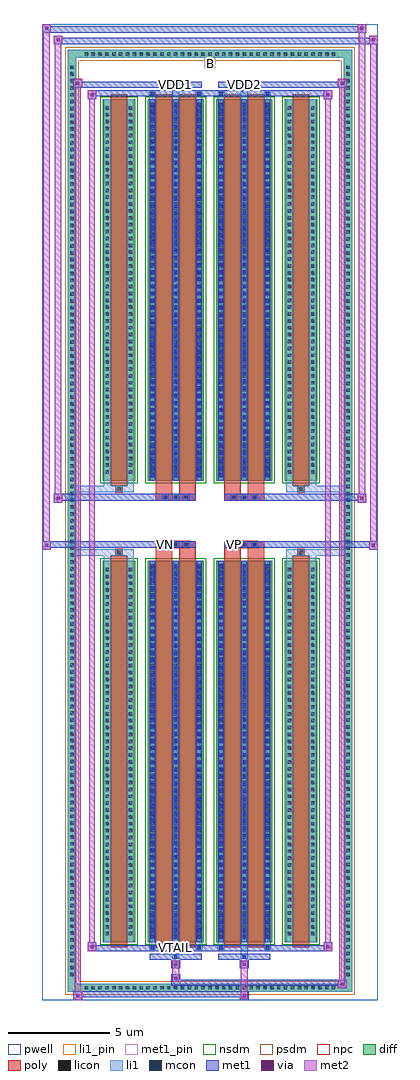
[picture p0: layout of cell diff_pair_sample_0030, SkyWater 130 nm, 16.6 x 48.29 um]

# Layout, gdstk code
import gdstk
lib = gdstk.Library(unit=1e-6, precision=5e-09)
def R(c, l, rs):  # rectangles x0, y0, x1, y1
    for r in rs: c.add(gdstk.rectangle(r[:2], r[2:], *l))
def A(c, l, x, y, w, h, nx, ny, dx, dy):  # array of equal rectangles
    R(c, l, [(x+i*dx, y+j*dy, x+i*dx+w, y+j*dy+h) for i in range(nx) for j in range(ny)])
def P(c, l, *ps):  # polygons
    for p in ps: c.add(gdstk.Polygon(p, *l))
pwell = (64, 44)
diff = (65, 20)
poly = (66, 20)
licon = (66, 44)
li1_pin = (67, 16)
li1 = (67, 20)
mcon = (67, 44)
met1_pin = (68, 16)
met1 = (68, 20)
via = (68, 44)
met2 = (69, 20)
nsdm = (93, 44)
psdm = (94, 20)
npc = (95, 20)

diff_pair_sample_0030 = lib.new_cell('diff_pair_sample_0030')
R(diff_pair_sample_0030, pwell, [(-8.3,-23.71,8.3,24.58), (-5.62,-21.9,-0.01,-0.8), (0.01,-21.9,5.62,-0.8), (-5.62,0.8,-0.01,21.9), (0.01,0.8,5.62,21.9)])
A(diff_pair_sample_0030, diff, -6.325, -23.31, 0.41, 0.41, 37, 2, 0.34, 46.21)
A(diff_pair_sample_0030, diff, -7.03, -22.645, 0.41, 0.41, 1, 133, 0, 0.34)
A(diff_pair_sample_0030, diff, 6.62, -22.645, 0.41, 0.41, 1, 133, 0, 0.34)
R(diff_pair_sample_0030, diff, [(-6.325,-23.31,6.325,-22.9), (-7.03,-22.645,-6.62,22.645), (6.62,-22.645,7.03,22.645), (-5.31,-20.855,-3.71,-1.985), (-3.07,-20.855,-0.32,-1.985), (0.32,-20.855,3.07,-1.985), (3.71,-20.855,5.31,-1.985), (-5.31,1.985,-3.71,20.855), (-3.07,1.985,-0.32,20.855), (0.32,1.985,3.07,20.855), (3.71,1.985,5.31,20.855), (-6.325,22.9,6.325,23.31)])
P(diff_pair_sample_0030, diff, [(7.03,23.31),(-7.03,23.31),(-7.03,-22.9),(-6.62,-22.9),(-6.62,22.9),(6.62,22.9),(6.62,-22.9),(-6.62,-22.9),(-7.03,-22.9),(-7.03,-23.31),(7.03,-23.31)])
A(diff_pair_sample_0030, poly, -2.36, -1.33, 0.33, 0.33, 3, 2, 0.5, 2.33)
A(diff_pair_sample_0030, poly, 1.03, -1.33, 0.33, 0.33, 3, 2, 0.5, 2.33)
R(diff_pair_sample_0030, poly, [(-4.92,-21.105,-4.1,-1.735), (-2.68,-21.105,-1.86,-1.735), (-1.53,-21.105,-0.71,-1.735), (0.71,-21.105,1.53,-1.735), (1.86,-21.105,2.68,-1.735), (4.1,-21.105,4.92,-1.735), (-4.675,-1.735,-4.345,-1.405), (-4.675,-1.735,-4.345,-1.405), (-2.68,-1.735,-1.86,-1.33), (-1.53,-1.735,-0.71,-1.33), (0.71,-1.735,1.53,-1.33), (1.86,-1.735,2.68,-1.33), (4.345,-1.735,4.675,-1.405), (4.345,-1.735,4.675,-1.405), (-2.68,-1.33,-0.71,-1), (0.71,-1.33,2.68,-1), (-2.68,1,-0.71,1.33), (0.71,1,2.68,1.33), (-2.68,1.33,-1.86,1.735), (-1.53,1.33,-0.71,1.735), (0.71,1.33,1.53,1.735), (1.86,1.33,2.68,1.735), (-4.675,1.405,-4.345,1.735), (-4.675,1.405,-4.345,1.735), (4.345,1.405,4.675,1.735), (4.345,1.405,4.675,1.735), (-4.92,1.735,-4.1,21.105), (-2.68,1.735,-1.86,21.105), (-1.53,1.735,-0.71,21.105), (0.71,1.735,1.53,21.105), (1.86,1.735,2.68,21.105), (4.1,1.735,4.92,21.105)])
A(diff_pair_sample_0030, licon, -6.205, -23.19, 0.17, 0.17, 37, 2, 0.34, 46.21)
A(diff_pair_sample_0030, licon, -6.91, -22.525, 0.17, 0.17, 1, 133, 0, 0.34)
A(diff_pair_sample_0030, licon, 6.74, -22.525, 0.17, 0.17, 1, 133, 0, 0.34)
A(diff_pair_sample_0030, licon, -5.17, -20.515, 0.17, 0.17, 1, 54, 0, 0.34)
A(diff_pair_sample_0030, licon, -4.02, -20.515, 0.17, 0.17, 1, 54, 0, 0.34)
A(diff_pair_sample_0030, licon, -2.93, -20.515, 0.17, 0.17, 3, 54, 1.15, 0.34)
A(diff_pair_sample_0030, licon, 0.46, -20.515, 0.17, 0.17, 3, 54, 1.15, 0.34)
A(diff_pair_sample_0030, licon, 3.85, -20.515, 0.17, 0.17, 1, 54, 0, 0.34)
A(diff_pair_sample_0030, licon, 5, -20.515, 0.17, 0.17, 1, 54, 0, 0.34)
A(diff_pair_sample_0030, licon, -2.28, -1.25, 0.17, 0.17, 3, 2, 0.5, 2.33)
A(diff_pair_sample_0030, licon, 1.11, -1.25, 0.17, 0.17, 3, 2, 0.5, 2.33)
A(diff_pair_sample_0030, licon, -5.17, 2.325, 0.17, 0.17, 1, 54, 0, 0.34)
A(diff_pair_sample_0030, licon, -4.02, 2.325, 0.17, 0.17, 1, 54, 0, 0.34)
A(diff_pair_sample_0030, licon, -2.93, 2.325, 0.17, 0.17, 3, 54, 1.15, 0.34)
A(diff_pair_sample_0030, licon, 0.46, 2.325, 0.17, 0.17, 3, 54, 1.15, 0.34)
A(diff_pair_sample_0030, licon, 3.85, 2.325, 0.17, 0.17, 1, 54, 0, 0.34)
A(diff_pair_sample_0030, licon, 5, 2.325, 0.17, 0.17, 1, 54, 0, 0.34)
R(diff_pair_sample_0030, licon, [(-4.595,-1.655,-4.425,-1.485), (4.425,-1.655,4.595,-1.485), (-4.595,1.485,-4.425,1.655), (4.425,1.485,4.595,1.655)])
R(diff_pair_sample_0030, li1_pin, [(-0.25,22.4,0.25,22.9)])
A(diff_pair_sample_0030, li1, -6.285, -23.27, 0.33, 0.33, 37, 2, 0.34, 46.21)
A(diff_pair_sample_0030, li1, -6.99, -22.605, 0.33, 0.33, 1, 133, 0, 0.34)
A(diff_pair_sample_0030, li1, 6.66, -22.605, 0.33, 0.33, 1, 133, 0, 0.34)
A(diff_pair_sample_0030, li1, -3.01, -20.855, 0.33, 18.87, 3, 2, 1.15, 22.84)
A(diff_pair_sample_0030, li1, 0.38, -20.855, 0.33, 18.87, 3, 2, 1.15, 22.84)
A(diff_pair_sample_0030, li1, -2.93, -20.685, 0.17, 0.17, 3, 52, 1.15, 0.36)
A(diff_pair_sample_0030, li1, -2.93, -20.685, 0.17, 18.53, 3, 2, 1.15, 22.84)
A(diff_pair_sample_0030, li1, 0.46, -20.685, 0.17, 0.17, 3, 52, 1.15, 0.36)
A(diff_pair_sample_0030, li1, 0.46, -20.685, 0.17, 18.53, 3, 2, 1.15, 22.84)
A(diff_pair_sample_0030, li1, -5.25, -20.595, 0.33, 0.33, 1, 54, 0, 0.34)
A(diff_pair_sample_0030, li1, -4.1, -20.595, 0.33, 0.33, 1, 54, 0, 0.34)
A(diff_pair_sample_0030, li1, -3.01, -20.595, 0.33, 0.33, 3, 54, 1.15, 0.34)
A(diff_pair_sample_0030, li1, 0.38, -20.595, 0.33, 0.33, 3, 54, 1.15, 0.34)
A(diff_pair_sample_0030, li1, 3.77, -20.595, 0.33, 0.33, 1, 54, 0, 0.34)
A(diff_pair_sample_0030, li1, 4.92, -20.595, 0.33, 0.33, 1, 54, 0, 0.34)
A(diff_pair_sample_0030, li1, -2.36, -1.33, 0.33, 0.33, 3, 2, 0.5, 2.33)
A(diff_pair_sample_0030, li1, 1.03, -1.33, 0.33, 0.33, 3, 2, 0.5, 2.33)
A(diff_pair_sample_0030, li1, -2.93, 2.155, 0.17, 0.17, 3, 52, 1.15, 0.36)
A(diff_pair_sample_0030, li1, 0.46, 2.155, 0.17, 0.17, 3, 52, 1.15, 0.36)
A(diff_pair_sample_0030, li1, -5.25, 2.245, 0.33, 0.33, 1, 54, 0, 0.34)
A(diff_pair_sample_0030, li1, -4.1, 2.245, 0.33, 0.33, 1, 54, 0, 0.34)
A(diff_pair_sample_0030, li1, -3.01, 2.245, 0.33, 0.33, 3, 54, 1.15, 0.34)
A(diff_pair_sample_0030, li1, 0.38, 2.245, 0.33, 0.33, 3, 54, 1.15, 0.34)
A(diff_pair_sample_0030, li1, 3.77, 2.245, 0.33, 0.33, 1, 54, 0, 0.34)
A(diff_pair_sample_0030, li1, 4.92, 2.245, 0.33, 0.33, 1, 54, 0, 0.34)
R(diff_pair_sample_0030, li1, [(-7.03,-23.31,-6.62,-22.9), (-7.03,-23.31,-6.62,-22.9), (-6.62,-23.31,6.62,-22.9), (6.62,-23.31,7.03,-22.9), (6.62,-23.31,7.03,-22.9), (-7.03,-22.9,-6.62,22.9), (6.62,-22.9,7.03,22.9), (-1.86,-21.66,-1.53,-20.855), (-1.78,-21.66,-1.61,-21.49), (1.53,-21.66,1.86,-20.855), (1.61,-21.66,1.78,-21.49), (-3.01,-21.23,-2.68,-20.855), (-2.93,-21.23,-2.76,-21.06), (-0.71,-21.23,-0.38,-20.855), (-0.63,-21.23,-0.46,-21.06), (0.38,-21.23,0.71,-20.855), (0.46,-21.23,0.63,-21.06), (2.68,-21.23,3.01,-20.855), (2.76,-21.23,2.93,-21.06), (-5.25,-20.855,-4.92,-1.985), (-4.1,-20.855,-3.77,-1.985), (3.77,-20.855,4.1,-1.985), (4.92,-20.855,5.25,-1.985), (-5.25,-1.985,-4.92,-1.405), (-4.1,-1.985,-3.77,-1.405), (3.77,-1.985,4.1,-1.405), (4.92,-1.985,5.25,-1.405), (-7.03,-1.735,-4.675,-1.405), (-5.25,-1.735,-4.675,-1.405), (-4.675,-1.735,-4.345,-1.405), (-4.345,-1.735,-3.77,-1.405), (3.77,-1.735,4.345,-1.405), (4.345,-1.735,4.675,-1.405), (4.345,-1.735,7.03,-1.405), (4.675,-1.735,5.25,-1.405), (-7.03,1.405,-4.675,1.735), (-5.25,1.405,-4.675,1.735), (-5.25,1.405,-4.92,1.985), (-4.675,1.405,-4.345,1.735), (-4.345,1.405,-3.77,1.735), (-4.1,1.405,-3.77,1.985), (3.77,1.405,4.345,1.735), (3.77,1.405,4.1,1.985), (4.345,1.405,4.675,1.735), (4.345,1.405,7.03,1.735), (4.675,1.405,5.25,1.735), (4.92,1.405,5.25,1.985), (-5.25,1.985,-4.92,20.855), (-4.1,1.985,-3.77,20.855), (3.77,1.985,4.1,20.855), (4.92,1.985,5.25,20.855), (-3.01,20.855,-2.68,21.23), (-1.86,20.855,-1.53,21.66), (-0.71,20.855,-0.38,21.23), (0.38,20.855,0.71,21.23), (1.53,20.855,1.86,21.66), (2.68,20.855,3.01,21.23), (-2.93,21.06,-2.76,21.23), (-0.63,21.06,-0.46,21.23), (0.46,21.06,0.63,21.23), (2.76,21.06,2.93,21.23), (-1.78,21.49,-1.61,21.66), (1.61,21.49,1.78,21.66), (-7.03,22.9,-6.62,23.31), (-7.03,22.9,-6.62,23.31), (-6.62,22.9,6.62,23.31), (6.62,22.9,7.03,23.31), (6.62,22.9,7.03,23.31)])
A(diff_pair_sample_0030, mcon, -2.93, -20.685, 0.17, 0.17, 3, 52, 1.15, 0.36)
A(diff_pair_sample_0030, mcon, 0.46, -20.685, 0.17, 0.17, 3, 52, 1.15, 0.36)
A(diff_pair_sample_0030, mcon, -2.28, -1.25, 0.17, 0.17, 3, 2, 0.5, 2.33)
A(diff_pair_sample_0030, mcon, 1.11, -1.25, 0.17, 0.17, 3, 2, 0.5, 2.33)
A(diff_pair_sample_0030, mcon, -2.93, 2.155, 0.17, 0.17, 3, 52, 1.15, 0.36)
A(diff_pair_sample_0030, mcon, 0.46, 2.155, 0.17, 0.17, 3, 52, 1.15, 0.36)
R(diff_pair_sample_0030, mcon, [(-1.78,-21.66,-1.61,-21.49), (1.61,-21.66,1.78,-21.49), (-2.93,-21.23,-2.76,-21.06), (-0.63,-21.23,-0.46,-21.06), (0.46,-21.23,0.63,-21.06), (2.76,-21.23,2.93,-21.06), (-2.93,21.06,-2.76,21.23), (-0.63,21.06,-0.46,21.23), (0.46,21.06,0.63,21.23), (2.76,21.06,2.93,21.23), (-1.78,21.49,-1.61,21.66), (1.61,21.49,1.78,21.66)])
R(diff_pair_sample_0030, met1_pin, [(-1.83,-21.27,-1.56,-21), (-2.33,-1.29,-2.06,-1.02), (1.06,-1.29,1.33,-1.02), (-1.83,21.45,-1.56,21.72), (1.56,21.45,1.83,21.72)])
A(diff_pair_sample_0030, met1, -2.99, -20.855, 0.29, 18.87, 3, 2, 1.15, 22.84)
A(diff_pair_sample_0030, met1, 0.4, -20.855, 0.29, 18.87, 3, 2, 1.15, 22.84)
A(diff_pair_sample_0030, met1, -2.99, -20.745, 0.29, 0.29, 3, 52, 1.15, 0.36)
A(diff_pair_sample_0030, met1, 0.4, -20.745, 0.29, 0.29, 3, 52, 1.15, 0.36)
A(diff_pair_sample_0030, met1, -2.34, -1.31, 0.29, 0.29, 3, 2, 0.5, 2.33)
A(diff_pair_sample_0030, met1, 1.05, -1.31, 0.29, 0.29, 3, 2, 0.5, 2.33)
A(diff_pair_sample_0030, met1, -2.99, 2.095, 0.29, 0.29, 3, 52, 1.15, 0.36)
A(diff_pair_sample_0030, met1, 0.4, 2.095, 0.29, 0.29, 3, 52, 1.15, 0.36)
R(diff_pair_sample_0030, met1, [(-6.76,-23.71,-6.33,-23.28), (1.48,-23.71,1.91,-23.28), (-6.76,-23.57,1.91,-23.28), (6.33,-23.14,6.76,-22.71), (-1.91,-23,6.76,-22.71), (-1.91,-22.86,-1.48,-22.43), (-1.91,-22.15,-1.48,-21.72), (1.48,-22.15,1.91,-21.72), (-2.99,-21.72,-0.4,-21.43), (-1.84,-21.72,-1.55,-21.43), (0.4,-21.72,2.99,-21.43), (1.55,-21.72,1.84,-21.43), (-6.05,-21.29,-5.62,-20.86), (-6.05,-21.29,-2.99,-21), (-2.99,-21.29,-2.7,-21), (-2.99,-21.29,-0.4,-21), (-0.69,-21.29,-0.4,-21), (-0.4,-21.29,0.4,-21), (0.4,-21.29,0.69,-21), (0.4,-21.29,2.99,-21), (2.7,-21.29,2.99,-21), (2.99,-21.29,6.05,-21), (5.62,-21.29,6.05,-20.86), (-8.3,-1.43,-7.87,-1), (7.87,-1.43,8.3,-1), (-8.3,-1.33,-0.71,-1), (-2.68,-1.33,-0.71,-1), (0.71,-1.33,2.68,-1), (0.71,-1.33,8.3,-1), (-7.73,0.9,-7.3,1.33), (7.3,0.9,7.73,1.33), (-7.73,1,-2.68,1.33), (-2.68,1,-0.71,1.33), (0.71,1,2.68,1.33), (2.68,1,7.73,1.33), (-6.05,20.86,-5.62,21.29), (5.62,20.86,6.05,21.29), (-6.05,21,-2.99,21.29), (-2.99,21,-2.7,21.29), (-2.99,21,-0.4,21.29), (-0.69,21,-0.4,21.29), (-0.4,21,0.4,21.29), (0.4,21,0.69,21.29), (0.4,21,2.99,21.29), (2.7,21,2.99,21.29), (2.99,21,6.05,21.29), (-6.76,21.43,-6.33,21.86), (-6.76,21.43,-2.99,21.72), (-2.99,21.43,-0.4,21.72), (-1.84,21.43,-1.55,21.72), (0.4,21.43,2.99,21.72), (1.55,21.43,1.84,21.72), (2.99,21.43,6.76,21.72), (6.33,21.43,6.76,21.86), (-7.73,23.58,-7.3,24.01), (-7.73,23.58,-5.62,23.91), (-5.62,23.58,5.62,23.91), (5.62,23.58,8.3,23.91), (7.87,23.58,8.3,24.01), (-8.3,24.15,-7.87,24.58), (-8.3,24.15,-5.62,24.48), (-5.62,24.15,5.62,24.48), (5.62,24.15,7.73,24.48), (7.3,24.15,7.73,24.58)])
R(diff_pair_sample_0030, via, [(-6.62,-23.57,-6.47,-23.42), (1.62,-23.57,1.77,-23.42), (6.47,-23,6.62,-22.85), (-1.77,-22.72,-1.62,-22.57), (-1.77,-22.01,-1.62,-21.86), (1.62,-22.01,1.77,-21.86), (-5.91,-21.15,-5.76,-21), (5.76,-21.15,5.91,-21), (-8.16,-1.29,-8.01,-1.14), (8.01,-1.29,8.16,-1.14), (-7.59,1.04,-7.44,1.19), (7.44,1.04,7.59,1.19), (-5.91,21,-5.76,21.15), (5.76,21,5.91,21.15), (-6.62,21.57,-6.47,21.72), (6.47,21.57,6.62,21.72), (-7.59,23.72,-7.44,23.87), (8.01,23.72,8.16,23.87), (-8.16,24.29,-8.01,24.44), (7.44,24.29,7.59,24.44)])
R(diff_pair_sample_0030, met2, [(-6.76,-23.71,-6.33,-23.28), (-6.69,-23.71,-6.4,21.86), (-6.4,-23.71,-6.33,-23.28), (-6.71,-23.66,-6.38,-23.33), (1.53,-23.66,1.86,-23.33), (1.53,-23.33,1.86,-22.1), (6.33,-23.14,6.76,-22.71), (6.4,-23.14,6.69,21.86), (6.69,-23.14,6.76,-22.71), (6.38,-23.09,6.71,-22.76), (-1.86,-22.81,-1.53,-22.48), (-1.86,-22.48,-1.53,-22.1), (-1.86,-22.1,-1.53,-21.77), (1.53,-22.1,1.86,-21.77), (-6.05,-21.29,-5.62,-20.86), (-5.98,-21.29,-5.69,21.29), (-5.69,-21.29,-5.62,-20.86), (5.62,-21.29,6.05,-20.86), (5.69,-21.29,5.98,21.29), (5.98,-21.29,6.05,-20.86), (-6,-21.24,-5.67,-20.91), (5.67,-21.24,6,-20.91), (-8.3,-1.43,-7.87,-1), (-8.25,-1.43,-7.92,24.58), (-7.92,-1.43,-7.87,-1), (7.87,-1.43,8.3,-1), (7.92,-1.43,8.25,24.01), (8.25,-1.43,8.3,-1), (-8.25,-1.38,-7.92,-1.05), (7.92,-1.38,8.25,-1.05), (-7.73,0.9,-7.3,1.33), (-7.68,0.9,-7.35,24.01), (-7.35,0.9,-7.3,1.33), (7.3,0.9,7.73,1.33), (7.35,0.9,7.68,24.58), (7.68,0.9,7.73,1.33), (-7.68,0.95,-7.35,1.28), (7.35,0.95,7.68,1.28), (-6.05,20.86,-5.62,21.29), (-5.69,20.86,-5.62,21.29), (5.62,20.86,6.05,21.29), (5.98,20.86,6.05,21.29), (-6,20.91,-5.67,21.24), (5.67,20.91,6,21.24), (-6.76,21.43,-6.33,21.86), (-6.4,21.43,-6.33,21.86), (6.33,21.43,6.76,21.86), (6.69,21.43,6.76,21.86), (-6.71,21.48,-6.38,21.81), (6.38,21.48,6.71,21.81), (-7.73,23.58,-7.3,24.01), (-7.35,23.58,-7.3,24.01), (7.87,23.58,8.3,24.01), (8.25,23.58,8.3,24.01), (-7.68,23.63,-7.35,23.96), (7.92,23.63,8.25,23.96), (-8.3,24.15,-7.87,24.58), (-7.92,24.15,-7.87,24.58), (7.3,24.15,7.73,24.58), (7.68,24.15,7.73,24.58), (-8.25,24.2,-7.92,24.53), (7.35,24.2,7.68,24.53)])
R(diff_pair_sample_0030, nsdm, [(-5.44,-20.985,-3.58,-1.855), (-3.2,-20.985,-0.19,-1.855), (0.19,-20.985,3.2,-1.855), (3.58,-20.985,5.44,-1.855), (-5.44,1.855,-3.58,20.985), (-3.2,1.855,-0.19,20.985), (0.19,1.855,3.2,20.985), (3.58,1.855,5.44,20.985)])
P(diff_pair_sample_0030, psdm, [(7.16,23.44),(-7.16,23.44),(-7.16,-22.77),(-6.49,-22.77),(-6.49,22.77),(6.49,22.77),(6.49,-22.77),(-6.49,-22.77),(-7.16,-22.77),(-7.16,-23.44),(7.16,-23.44)])
A(diff_pair_sample_0030, npc, -2.38, -1.35, 0.37, 0.37, 3, 2, 0.5, 2.33)
A(diff_pair_sample_0030, npc, 1.01, -1.35, 0.37, 0.37, 3, 2, 0.5, 2.33)
R(diff_pair_sample_0030, npc, [(-4.695,-1.755,-4.325,-1.385), (4.325,-1.755,4.695,-1.385), (-2.38,-1.35,-1.51,-0.98), (-2.38,-1.35,-1.51,-0.98), (-1.88,-1.35,-1.01,-0.98), (-1.88,-1.35,-1.01,-0.98), (1.01,-1.35,1.88,-0.98), (1.01,-1.35,1.88,-0.98), (1.51,-1.35,2.38,-0.98), (1.51,-1.35,2.38,-0.98), (-2.38,0.98,-1.51,1.35), (-2.38,0.98,-1.51,1.35), (-1.88,0.98,-1.01,1.35), (-1.88,0.98,-1.01,1.35), (1.01,0.98,1.88,1.35), (1.01,0.98,1.88,1.35), (1.51,0.98,2.38,1.35), (1.51,0.98,2.38,1.35), (-4.695,1.385,-4.325,1.755), (4.325,1.385,4.695,1.755)])
diff_pair_sample_0030.add(gdstk.Label('VTAIL', (-1.695,-21.135), layer=68, texttype=5))
diff_pair_sample_0030.add(gdstk.Label('VN', (-2.195,-1.155), layer=68, texttype=5))
diff_pair_sample_0030.add(gdstk.Label('VP', (1.195,-1.155), layer=68, texttype=5))
diff_pair_sample_0030.add(gdstk.Label('B', (0,22.65), layer=67, texttype=5))
diff_pair_sample_0030.add(gdstk.Label('VDD2', (1.695,21.585), layer=68, texttype=5))
diff_pair_sample_0030.add(gdstk.Label('VDD1', (-1.695,21.585), layer=68, texttype=5))

lib.write_gds('diff_pair_sample_0030.gds')
